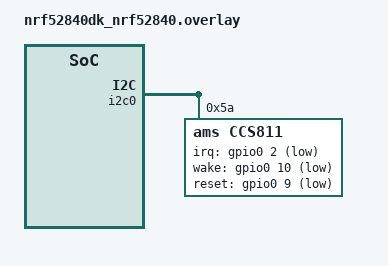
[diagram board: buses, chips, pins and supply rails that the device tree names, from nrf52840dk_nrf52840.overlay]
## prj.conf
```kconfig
# Enable OpenThread FTD features set
CONFIG_OPENTHREAD_NORDIC_LIBRARY_FTD=y
# L2 OpenThread enabling
CONFIG_NET_L2_OPENTHREAD=y
# Generic networking options
CONFIG_NETWORKING=y

# Network parameter
CONFIG_OPENTHREAD_MANUAL_START=n
CONFIG_OPENTHREAD_NETWORK_NAME="WSN11"
CONFIG_OPENTHREAD_PANID=10011
CONFIG_OPENTHREAD_XPANID="fb:02:00:00:ab:cd:00:11"
CONFIG_OPENTHREAD_NETWORKKEY="00:11:22:33:44:55:66:77:88:99:aa:bb:cc:dd:ee:ff"

# Network shell
CONFIG_SHELL=y
CONFIG_OPENTHREAD_SHELL=y
CONFIG_SHELL_ARGC_MAX=26
CONFIG_SHELL_CMD_BUFF_SIZE=416

#Additional parameter
CONFIG_MBEDTLS_SHA1_C=n
CONFIG_FPU=y
CONFIG_GPIO=y

CONFIG_I2C=y
CONFIG_SENSOR=y

CONFIG_NEWLIB_LIBC=y
```

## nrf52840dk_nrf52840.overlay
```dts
// To get started, press Ctrl+Space to bring up the completion menu and view the available nodes.

// You can also use the buttons in the sidebar to perform actions on nodes.
// Actions currently available include:

// * Enabling / disabling the node
// * Adding the bus to a bus
// * Removing the node
// * Connecting ADC channels

// For more help, browse the DeviceTree documentation at https://docs.zephyrproject.org/latest/guides/dts/index.html
// You can also visit the nRF DeviceTree extension documentation at https://nrfconnect.github.io/vscode-nrf-connect/devicetree/nrfdevicetree.html

/ {
    chosen {
    zephyr,entropy = &rng;
    };
    };
    
    &i2c0{
        status = "okay";
        ccs811: ccs811@5a{
        compatible ="ams,ccs811"; 
        reg = <0x5a>;
        label ="CCS811"; 
        irq-gpios = <&gpio0 2 GPIO_ACTIVE_LOW>; 
        wake-gpios = <&gpio0 10 GPIO_ACTIVE_LOW>; 
        reset-gpios = <&gpio0 9 GPIO_ACTIVE_LOW>;
        };
    };  


    // Tie WAKE to GND
   
```

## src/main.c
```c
#include <zephyr/kernel.h>
#include <zephyr/sys/printk.h>
#include <zephyr/device.h>
#include <zephyr/drivers/sensor.h>
#include <zephyr/drivers/sensor/ccs811.h>
#include <stdio.h>

#include <zephyr/net/openthread.h>
#include <openthread/thread.h>
#include <openthread/udp.h>

int main(void)
{
	otError error = OT_ERROR_NONE;
	const struct device* ccs811 = DEVICE_DT_GET_ANY(ams_ccs811);
	struct sensor_value co2, tvoc;
	int rc = 0;
	char buf[64];
	printk("TRY INIT");

	if (!device_is_ready(ccs811))
	{

		printk("NOT GOOD TO START");

		return 1;

	}

	printk("GOOD TO START");

	while (true)

	{

		rc = sensor_sample_fetch(ccs811);

		sensor_channel_get(ccs811, SENSOR_CHAN_CO2, &co2);
		sensor_channel_get(ccs811, SENSOR_CHAN_VOC, &tvoc);
		printk("\nCCS811: %u ppm eCO2; %u ppb eTVOC\n", co2.val1, tvoc.val1);

		// Format the sensor data as a string
		snprintf(buf, sizeof(buf), "eCO2: %u ppm, eTVOC: %u ppb", co2.val1, tvoc.val1);

		otInstance* myInstance;
		myInstance = openthread_get_default_instance();
		otUdpSocket mySocket;
		otMessageInfo messageInfo;
		memset(&messageInfo, 0, sizeof(messageInfo));
		otIp6AddressFromString("ff03::1", &messageInfo.mPeerAddr);
		messageInfo.mPeerPort = 1234;


		do {
			error = otUdpOpen(myInstance, &mySocket, NULL, NULL);
			if (error != OT_ERROR_NONE) { break; }
			otMessage* test_Message = otUdpNewMessage(myInstance, NULL);
			error = otMessageAppend(test_Message, buf, (uint16_t)strlen(buf));
			if (error != OT_ERROR_NONE) { break; }
			error = otUdpSend(myInstance, &mySocket, test_Message, &messageInfo);
			if (error != OT_ERROR_NONE) { break; }
			error = otUdpClose(myInstance, &mySocket);
		} while (false);
		if (error == OT_ERROR_NONE) {
			printk("Send.\n");
		}
		else {
			printk("udpSend error: %d\n", error);
		}

		k_sleep(K_SECONDS(2));
	}
	return 0;
}
```
